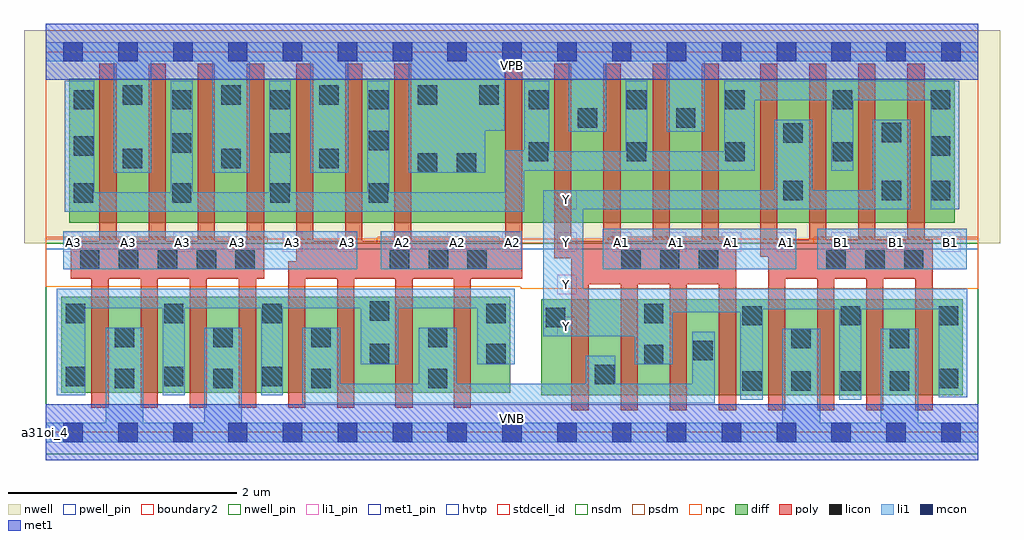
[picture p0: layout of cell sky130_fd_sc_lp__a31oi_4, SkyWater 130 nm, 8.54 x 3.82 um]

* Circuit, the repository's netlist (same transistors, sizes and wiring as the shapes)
* Copyright 2020 The SkyWater PDK Authors
*
* Licensed under the Apache License, Version 2.0 (the "License");
* you may not use this file except in compliance with the License.
* You may obtain a copy of the License at
*
*     https://www.apache.org/licenses/LICENSE-2.0
*
* Unless required by applicable law or agreed to in writing, software
* distributed under the License is distributed on an "AS IS" BASIS,
* WITHOUT WARRANTIES OR CONDITIONS OF ANY KIND, either express or implied.
* See the License for the specific language governing permissions and
* limitations under the License.
*
* SPDX-License-Identifier: Apache-2.0

.SUBCKT sky130_fd_sc_lp__a31oi_4 A1 A2 A3 B1 VGND VNB VPB VPWR Y
*.PININFO A1:I A2:I A3:I B1:I VGND:I VNB:I VPB:I VPWR:I Y:O
MMPA0 pndA A1 VPWR VPB sky130_fd_pr__pfet_01v8_hvt m=4 w=1.26U l=0.15U mult=1 sa=0.265
+ sb=0.265 sd=0.28 area=0.063 perim=1.14
MMPA1 pndA A2 VPWR VPB sky130_fd_pr__pfet_01v8_hvt m=4 w=1.26U l=0.15U mult=1 sa=0.265
+ sb=0.265 sd=0.28 area=0.063 perim=1.14
MMPA2 pndA A3 VPWR VPB sky130_fd_pr__pfet_01v8_hvt m=4 w=1.26U l=0.15U mult=1 sa=0.265
+ sb=0.265 sd=0.28 area=0.063 perim=1.14
MMPB0 Y B1 pndA VPB sky130_fd_pr__pfet_01v8_hvt m=4 w=1.26U l=0.15U mult=1 sa=0.265
+ sb=0.265 sd=0.28 area=0.063 perim=1.14
MMNA0 Y A1 sndA1 VNB sky130_fd_pr__nfet_01v8 m=4 w=0.84U l=0.15U mult=1 sa=0.265
+ sb=0.265 sd=0.28 area=0.063 perim=1.14
MMNA1 sndA1 A2 sndA2 VNB sky130_fd_pr__nfet_01v8 m=4 w=0.84U l=0.15U mult=1 sa=0.265
+ sb=0.265 sd=0.28 area=0.063 perim=1.14
MMNA2 sndA2 A3 VGND VNB sky130_fd_pr__nfet_01v8 m=4 w=0.84U l=0.15U mult=1 sa=0.265
+ sb=0.265 sd=0.28 area=0.063 perim=1.14
MMNB0 Y B1 VGND VNB sky130_fd_pr__nfet_01v8 m=4 w=0.84U l=0.15U mult=1 sa=0.265
+ sb=0.265 sd=0.28 area=0.063 perim=1.14
.ENDS sky130_fd_sc_lp__a31oi_4

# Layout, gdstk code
import gdstk
lib = gdstk.Library(unit=1e-6, precision=1e-09)
def R(c, l, rs):  # rectangles x0, y0, x1, y1
    for r in rs: c.add(gdstk.rectangle(r[:2], r[2:], *l))
def A(c, l, x, y, w, h, nx, ny, dx, dy):  # array of equal rectangles
    R(c, l, [(x+i*dx, y+j*dy, x+i*dx+w, y+j*dy+h) for i in range(nx) for j in range(ny)])
def P(c, l, *ps):  # polygons
    for p in ps: c.add(gdstk.Polygon(p, *l))
nwell_pin = (64, 16)
nwell = (64, 20)
diff = (65, 20)
poly = (66, 20)
licon = (66, 44)
li1_pin = (67, 16)
li1 = (67, 20)
mcon = (67, 44)
met1_pin = (68, 16)
met1 = (68, 20)
hvtp = (78, 44)
stdcell_id = (81, 4)
nsdm = (93, 44)
psdm = (94, 20)
npc = (95, 20)
pwell_pin = (122, 16)
boundary2 = (236, 0)

sky130_fd_sc_lp__a31oi_4 = lib.new_cell('sky130_fd_sc_lp__a31oi_4')
R(sky130_fd_sc_lp__a31oi_4, nwell_pin, [(0,3.085,8.16,3.33)])
R(sky130_fd_sc_lp__a31oi_4, nwell, [(-0.19,1.655,8.35,3.52)])
R(sky130_fd_sc_lp__a31oi_4, diff, [(4.335,0.325,8.025,1.165), (0.135,0.345,4.065,1.185), (0.205,1.835,7.955,3.095)])
P(sky130_fd_sc_lp__a31oi_4, poly, [(1.91,3.225),(1.76,3.225),(1.76,1.675),(1.48,1.675),(1.48,3.225),(1.33,3.225),(1.33,1.675),(1.05,1.675),(1.05,3.225),(0.9,3.225),(0.9,1.675),(0.62,1.675),(0.62,3.225),(0.47,3.225),(0.47,1.675),(0.22,1.675),(0.22,1.345),(0.4,1.345),(0.4,0.215),(0.55,0.215),(0.55,1.345),(0.83,1.345),(0.83,0.215),(0.98,0.215),(0.98,1.345),(1.26,1.345),(1.26,0.215),(1.41,0.215),(1.41,1.345),(1.69,1.345),(1.69,0.215),(1.84,0.215),(1.84,1.345),(1.91,1.345)],
  [(4.17,3.225),(4.02,3.225),(4.02,1.675),(3.2,1.675),(3.2,3.225),(3.05,3.225),(3.05,1.675),(2.77,1.675),(2.77,3.225),(2.62,3.225),(2.62,1.675),(2.34,1.675),(2.34,3.225),(2.19,3.225),(2.19,1.495),(2.12,1.495),(2.12,0.215),(2.27,0.215),(2.27,1.345),(2.55,1.345),(2.55,0.215),(2.7,0.215),(2.7,1.345),(3.06,1.345),(3.06,0.215),(3.21,0.215),(3.21,1.345),(3.57,1.345),(3.57,0.215),(3.72,0.215),(3.72,1.345),(4.17,1.345)],
  [(6.04,1.675),(5.89,1.675),(5.89,3.225),(5.74,3.225),(5.74,1.675),(5.46,1.675),(5.46,3.225),(5.31,3.225),(5.31,1.675),(5.03,1.675),(5.03,3.225),(4.88,3.225),(4.88,1.675),(4.6,1.675),(4.6,3.225),(4.45,3.225),(4.45,1.525),(4.6,1.525),(4.6,0.195),(4.75,0.195),(4.75,1.295),(5.03,1.295),(5.03,0.195),(5.18,0.195),(5.18,1.295),(5.46,1.295),(5.46,0.195),(5.61,0.195),(5.61,1.295),(5.89,1.295),(5.89,0.195),(6.04,0.195)],
  [(7.76,1.685),(7.69,1.685),(7.69,3.225),(7.54,3.225),(7.54,1.685),(7.26,1.685),(7.26,3.225),(7.11,3.225),(7.11,1.685),(6.83,1.685),(6.83,3.225),(6.68,3.225),(6.68,1.685),(6.4,1.685),(6.4,3.225),(6.25,3.225),(6.25,1.535),(6.32,1.535),(6.32,0.195),(6.47,0.195),(6.47,1.345),(6.75,1.345),(6.75,0.195),(6.9,0.195),(6.9,1.345),(7.18,1.345),(7.18,0.195),(7.33,0.195),(7.33,1.345),(7.61,1.345),(7.61,0.195),(7.76,0.195)])
A(sky130_fd_sc_lp__a31oi_4, licon, 6.095, 0.365, 0.17, 0.17, 4, 1, 0.43, 0)
A(sky130_fd_sc_lp__a31oi_4, licon, 0.605, 0.385, 0.17, 0.17, 3, 2, 0.86, 0.36)
A(sky130_fd_sc_lp__a31oi_4, licon, 0.175, 0.405, 0.17, 0.17, 3, 2, 0.86, 0.55)
A(sky130_fd_sc_lp__a31oi_4, licon, 6.095, 0.935, 0.17, 0.17, 3, 1, 0.86, 0)
A(sky130_fd_sc_lp__a31oi_4, licon, 0.3, 1.425, 0.17, 0.17, 5, 1, 0.34, 0)
A(sky130_fd_sc_lp__a31oi_4, licon, 3.01, 1.425, 0.17, 0.17, 3, 1, 0.34, 0)
A(sky130_fd_sc_lp__a31oi_4, licon, 5.035, 1.425, 0.17, 0.17, 3, 1, 0.34, 0)
A(sky130_fd_sc_lp__a31oi_4, licon, 6.83, 1.425, 0.17, 0.17, 3, 1, 0.34, 0)
A(sky130_fd_sc_lp__a31oi_4, licon, 0.245, 2.01, 0.17, 0.17, 4, 2, 0.86, 0.815)
A(sky130_fd_sc_lp__a31oi_4, licon, 0.675, 2.31, 0.17, 0.17, 3, 1, 0.86, 0)
A(sky130_fd_sc_lp__a31oi_4, licon, 4.225, 2.37, 0.17, 0.17, 3, 2, 0.86, 0.455)
A(sky130_fd_sc_lp__a31oi_4, licon, 0.675, 2.865, 0.17, 0.17, 4, 1, 0.86, 0)
R(sky130_fd_sc_lp__a31oi_4, licon, [(3.345,0.385,3.515,0.555), (7.815,0.385,7.985,0.555), (4.805,0.42,4.975,0.59), (5.235,0.595,5.405,0.765), (2.835,0.605,3.005,0.775), (3.855,0.605,4.025,0.775), (5.665,0.63,5.835,0.8), (6.525,0.735,6.695,0.905), (7.385,0.735,7.555,0.905), (3.345,0.745,3.515,0.915), (4.375,0.92,4.545,1.09), (3.855,0.955,4.025,1.125), (5.235,0.955,5.405,1.125), (2.835,0.975,3.005,1.145), (6.455,2.03,6.625,2.2), (7.315,2.03,7.485,2.2), (7.745,2.03,7.915,2.2), (3.255,2.27,3.425,2.44), (3.595,2.27,3.765,2.44), (6.885,2.37,7.055,2.54), (0.245,2.42,0.415,2.59), (7.745,2.42,7.915,2.59), (1.105,2.445,1.275,2.615), (1.965,2.445,2.135,2.615), (2.825,2.47,2.995,2.64), (6.455,2.535,6.625,2.705), (7.315,2.54,7.485,2.71), (4.655,2.665,4.825,2.835), (5.515,2.665,5.685,2.835), (6.885,2.825,7.055,2.995), (7.745,2.825,7.915,2.995), (3.795,2.865,3.965,3.035)])
A(sky130_fd_sc_lp__a31oi_4, li1_pin, 0.155, 1.58, 0.17, 0.17, 17, 1, 0.48, 0)
R(sky130_fd_sc_lp__a31oi_4, li1_pin, [(4.475,0.84,4.645,1.01), (4.475,1.21,4.645,1.38), (4.475,1.95,4.645,2.12)])
R(sky130_fd_sc_lp__a31oi_4, li1, [(0.155,1.425,2.725,1.76), (2.93,1.425,4.165,1.76), (4.875,1.425,6.565,1.78), (6.75,1.425,8.06,1.78)])
P(sky130_fd_sc_lp__a31oi_4, li1, [(8.065,1.255),(4.705,1.255),(4.705,1.95),(7.565,1.95),(7.565,2.735),(7.235,2.735),(7.235,2.12),(6.705,2.12),(6.705,2.735),(6.375,2.735),(6.375,2.12),(4.355,2.12),(4.355,0.84),(5.155,0.84),(5.155,0.595),(5.485,0.595),(5.485,1.05),(6.075,1.05),(6.075,0.285),(6.275,0.285),(6.275,1.075),(6.945,1.075),(6.945,0.285),(7.135,0.285),(7.135,1.075),(7.815,1.075),(7.815,0.305),(8.065,0.305)],
  [(4.105,1.255),(0.095,1.255),(0.095,0.325),(0.345,0.325),(0.345,1.085),(1.025,1.085),(1.025,0.325),(1.215,0.325),(1.215,1.085),(1.885,1.085),(1.885,0.325),(2.075,0.325),(2.075,1.085),(2.755,1.085),(2.755,0.595),(3.085,0.595),(3.085,1.085),(3.775,1.085),(3.775,0.595),(4.105,0.595)],
  [(7.995,3.075),(5.935,3.075),(5.935,2.46),(5.265,2.46),(5.265,3.075),(5.075,3.075),(5.075,2.46),(4.405,2.46),(4.405,3.075),(4.185,3.075),(4.185,2.47),(4.015,2.47),(4.015,2.1),(3.005,2.1),(3.005,3.075),(2.815,3.075),(2.815,2.1),(2.145,2.1),(2.145,3.075),(1.955,3.075),(1.955,2.1),(1.285,2.1),(1.285,3.075),(1.095,3.075),(1.095,2.1),(0.425,2.1),(0.425,3.075),(0.165,3.075),(0.165,1.93),(4.185,1.93),(4.185,2.29),(6.205,2.29),(6.205,2.905),(6.875,2.905),(6.875,2.29),(7.065,2.29),(7.065,2.905),(7.745,2.905),(7.745,1.95),(7.995,1.95)],
  [(5.855,0.88),(5.655,0.88),(5.655,0.425),(4.985,0.425),(4.985,0.67),(4.725,0.67),(4.725,0.425),(3.595,0.425),(3.595,0.915),(3.265,0.915),(3.265,0.425),(2.575,0.425),(2.575,0.915),(2.245,0.915),(2.245,0.255),(5.855,0.255)],
  [(8.16,0.085),(7.635,0.085),(7.635,0.905),(7.305,0.905),(7.305,0.085),(6.775,0.085),(6.775,0.905),(6.445,0.905),(6.445,0.085),(1.715,0.085),(1.715,0.915),(1.385,0.915),(1.385,0.085),(0.855,0.085),(0.855,0.915),(0.525,0.915),(0.525,0.085),(0,0.085),(0,-0.085),(8.16,-0.085)],
  [(8.16,3.415),(0,3.415),(0,3.245),(0.595,3.245),(0.595,2.27),(0.925,2.27),(0.925,3.245),(1.455,3.245),(1.455,2.27),(1.785,2.27),(1.785,3.245),(2.315,3.245),(2.315,2.27),(2.645,2.27),(2.645,3.245),(3.175,3.245),(3.175,2.27),(3.845,2.27),(3.845,2.64),(4.015,2.64),(4.015,3.245),(4.575,3.245),(4.575,2.63),(4.905,2.63),(4.905,3.245),(5.435,3.245),(5.435,2.63),(5.765,2.63),(5.765,3.245),(8.16,3.245)])
A(sky130_fd_sc_lp__a31oi_4, mcon, 0.155, -0.085, 0.17, 0.17, 17, 2, 0.48, 3.33)
R(sky130_fd_sc_lp__a31oi_4, met1_pin, [(0,0,8.16,0.245), (0,3.085,8.16,3.33)])
R(sky130_fd_sc_lp__a31oi_4, met1, [(0,-0.245,8.16,0.245), (0,3.085,8.16,3.575)])
R(sky130_fd_sc_lp__a31oi_4, hvtp, [(0,1.6,8.16,3.33)])
R(sky130_fd_sc_lp__a31oi_4, stdcell_id, [(0,0,8.16,3.33)])
R(sky130_fd_sc_lp__a31oi_4, nsdm, [(0,-0.19,8.16,1.655)])
P(sky130_fd_sc_lp__a31oi_4, psdm, [(8.16,3.52),(0,3.52),(0,1.705),(1.94,1.705),(1.94,1.655),(2.9,1.655),(2.9,1.705),(3.97,1.705),(3.97,1.655),(4.925,1.655),(4.925,1.705),(5.995,1.705),(5.995,1.655),(6.72,1.655),(6.72,1.705),(8.16,1.705)])
P(sky130_fd_sc_lp__a31oi_4, npc, [(8.16,1.695),(0,1.695),(0,1.275),(4.155,1.275),(4.155,1.255),(8.16,1.255)])
R(sky130_fd_sc_lp__a31oi_4, pwell_pin, [(0,0,8.16,0.245)])
R(sky130_fd_sc_lp__a31oi_4, boundary2, [(0,0,8.16,3.33)])
sky130_fd_sc_lp__a31oi_4.add(gdstk.Label('VNB', (4.08,0.123), layer=64, texttype=59))
sky130_fd_sc_lp__a31oi_4.add(gdstk.Label('VPB', (4.08,3.208), layer=64, texttype=5))
sky130_fd_sc_lp__a31oi_4.add(gdstk.Label('a31oi_4', (0,0), layer=83, texttype=44))
sky130_fd_sc_lp__a31oi_4.add(gdstk.Label('VPWR', (4.08,3.208), layer=68, texttype=5))
sky130_fd_sc_lp__a31oi_4.add(gdstk.Label('VGND', (4.08,0.123), layer=68, texttype=5))
sky130_fd_sc_lp__a31oi_4.add(gdstk.Label('A1', (5.04,1.665), layer=67, texttype=5))
sky130_fd_sc_lp__a31oi_4.add(gdstk.Label('A1', (5.52,1.665), layer=67, texttype=5))
sky130_fd_sc_lp__a31oi_4.add(gdstk.Label('A1', (6,1.665), layer=67, texttype=5))
sky130_fd_sc_lp__a31oi_4.add(gdstk.Label('A1', (6.48,1.665), layer=67, texttype=5))
sky130_fd_sc_lp__a31oi_4.add(gdstk.Label('A2', (3.12,1.665), layer=67, texttype=5))
sky130_fd_sc_lp__a31oi_4.add(gdstk.Label('A2', (3.6,1.665), layer=67, texttype=5))
sky130_fd_sc_lp__a31oi_4.add(gdstk.Label('A2', (4.08,1.665), layer=67, texttype=5))
sky130_fd_sc_lp__a31oi_4.add(gdstk.Label('A3', (0.24,1.665), layer=67, texttype=5))
sky130_fd_sc_lp__a31oi_4.add(gdstk.Label('A3', (0.72,1.665), layer=67, texttype=5))
sky130_fd_sc_lp__a31oi_4.add(gdstk.Label('A3', (1.2,1.665), layer=67, texttype=5))
sky130_fd_sc_lp__a31oi_4.add(gdstk.Label('A3', (1.68,1.665), layer=67, texttype=5))
sky130_fd_sc_lp__a31oi_4.add(gdstk.Label('A3', (2.16,1.665), layer=67, texttype=5))
sky130_fd_sc_lp__a31oi_4.add(gdstk.Label('A3', (2.64,1.665), layer=67, texttype=5))
sky130_fd_sc_lp__a31oi_4.add(gdstk.Label('B1', (6.96,1.665), layer=67, texttype=5))
sky130_fd_sc_lp__a31oi_4.add(gdstk.Label('B1', (7.44,1.665), layer=67, texttype=5))
sky130_fd_sc_lp__a31oi_4.add(gdstk.Label('B1', (7.92,1.665), layer=67, texttype=5))
sky130_fd_sc_lp__a31oi_4.add(gdstk.Label('Y', (4.56,0.925), layer=67, texttype=5))
sky130_fd_sc_lp__a31oi_4.add(gdstk.Label('Y', (4.56,1.295), layer=67, texttype=5))
sky130_fd_sc_lp__a31oi_4.add(gdstk.Label('Y', (4.56,1.665), layer=67, texttype=5))
sky130_fd_sc_lp__a31oi_4.add(gdstk.Label('Y', (4.56,2.035), layer=67, texttype=5))

lib.write_gds('sky130_fd_sc_lp__a31oi_4.gds')
